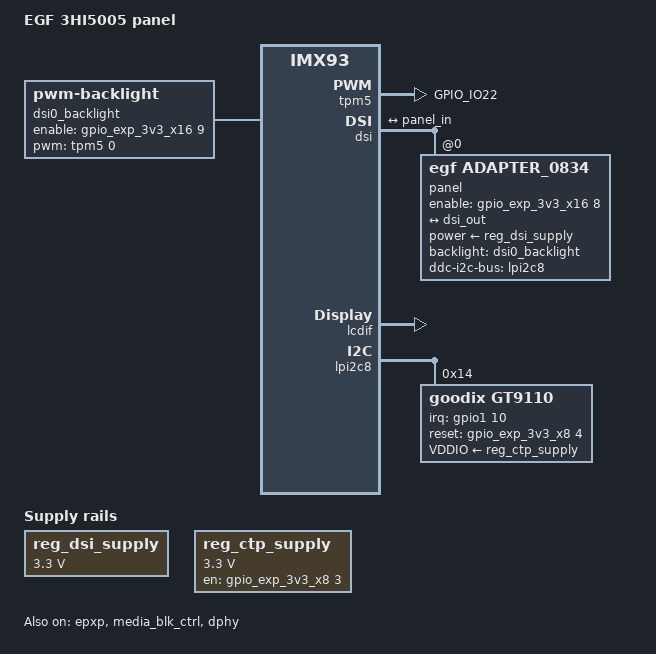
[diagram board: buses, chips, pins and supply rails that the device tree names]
// SPDX-License-Identifier: (GPL-2.0+ OR MIT)
/*
 * Copyright 2022 NXP
 * Copyright 2025 Elettronica GF s.r.l
 */

/dts-v1/;

#include "imx93-egf-3pb1001.dts"

/ {
	model = "EGF 3HI5005 panel";
	compatible = "fsl,imx93";
 
 	reg_dsi_supply: regulator-3v3-dsi{
		compatible = "regulator-fixed";
		regulator-name = "DSI-3V3";
		regulator-min-microvolt = <3300000>;
		regulator-max-microvolt = <3300000>;
	};
	
	reg_ctp_supply: regulator-3v3-ctp {
		compatible = "regulator-fixed";
		regulator-name = "VCC_3V3_CTP";
		gpio = <&gpio_exp_3v3_x8 3 GPIO_ACTIVE_HIGH>;
		regulator-min-microvolt = <3300000>;
		regulator-max-microvolt = <3300000>;
		enable-active-high;
		regulator-always-on;
	};
	

	dsi0_backlight: backlight {
		compatible = "pwm-backlight";
		pwms = <&tpm5 0 100000 0>;
		brightness-levels = < 0  1  2  3  4  5  6  7  8  9
				     10 11 12 13 14 15 16 17 18 19
				     20 21 22 23 24 25 26 27 28 29
				     30 31 32 33 34 35 36 37 38 39
				     40 41 42 43 44 45 46 47 48 49
				     50 51 52 53 54 55 56 57 58 59
				     60 61 62 63 64 65 66 67 68 69
				     70 71 72 73 74 75 76 77 78 79
				     80 81 82 83 84 85 86 87 88 89
				     90 91 92 93 94 95 96 97 98 99
				    100>;
		default-brightness-level = <80>;
		enable-gpios = <&gpio_exp_3v3_x16 9 GPIO_ACTIVE_HIGH>;
		status = "okay";
	};
 };
 
 &tpm5 {
	pinctrl-names = "default";
	pinctrl-0 = <&pinctrl_tpm5_ch1>;
	status = "okay";
};

&dsi {
	#address-cells = <1>;
	#size-cells = <0>;
    status = "okay";
	panel@0 {
		compatible = "egf,adapter_0834";
        reg = <0>;
       	dsi-lanes = <4>;
        pinctrl-names = "default";
		ddc-i2c-bus = <&lpi2c8>;	
		backlight = <&dsi0_backlight>;	
		enable-gpio = <&gpio_exp_3v3_x16 8 GPIO_ACTIVE_HIGH>;
		power-supply =  <&reg_dsi_supply>;
		status = "okay";

		port {
			panel_in: endpoint {
				remote-endpoint = <&dsi_out>;
			};
		};
	};

	ports {
		port@1 {
			reg = <1>;

			dsi_out: endpoint {
				remote-endpoint = <&panel_in>;
			};
		};
	};
};


&lcdif {
	assigned-clock-rates = <300000000>, <30000000>, <400000000>, <133333333>;
	status = "okay";
};

&epxp {
	status = "okay";
};

&media_blk_ctrl {
	status = "okay";
};

&dphy {
	status = "okay";
};

&lpi2c8 {
	gt9110@14 {
		compatible = "goodix,gt9110";
        reg = <0x14>;
		pinctrl-names = "default";
		pinctrl-0 = <&pinctrl_ts>;
		VDDIO-supply = <&reg_ctp_supply>;
		edge-failling-trigger;
        interrupt-parent = <&gpio1>;
        interrupts = <10 IRQ_TYPE_EDGE_FALLING>;
        irq-gpios = <&gpio1 10 GPIO_ACTIVE_HIGH>;
        reset-gpios = <&gpio_exp_3v3_x8 4 GPIO_ACTIVE_HIGH>;
        status = "okay";
      };	
};




&iomuxc {
	pinctrl-names = "default";

	pinctrl_ts: tsgrp {
		fsl,pins = <MX93_PAD_PDM_BIT_STREAM1__GPIO1_IO10          0x00000116>;      /* TS nINT */		
	};

    pinctrl_tpm5_ch1: tpm5ch1grp {
        fsl,pins = <MX93_PAD_GPIO_IO22__TPM5_CH1                  0x0000031e>;      /* PWM BL */
    };
};
